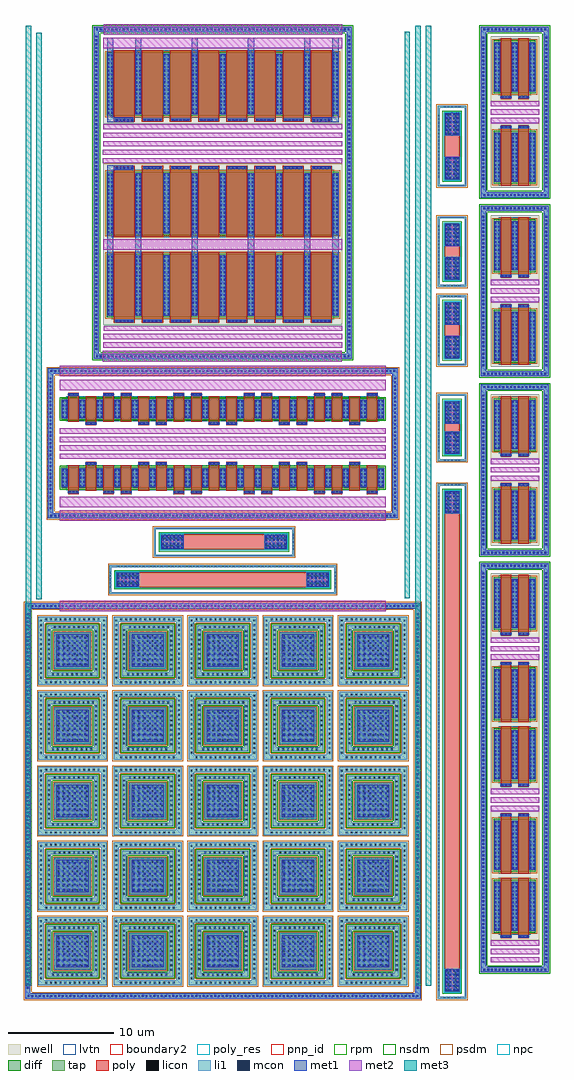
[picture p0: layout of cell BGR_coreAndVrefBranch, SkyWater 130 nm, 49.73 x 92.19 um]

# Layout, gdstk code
from math import pi, radians
import gdstk
lib = gdstk.Library(unit=1e-6, precision=5e-09)
def R(c, l, rs):  # rectangles x0, y0, x1, y1
    for r in rs: c.add(gdstk.rectangle(r[:2], r[2:], *l))
def A(c, l, x, y, w, h, nx, ny, dx, dy):  # array of equal rectangles
    R(c, l, [(x+i*dx, y+j*dy, x+i*dx+w, y+j*dy+h) for i in range(nx) for j in range(ny)])
def P(c, l, *ps):  # polygons
    for p in ps: c.add(gdstk.Polygon(p, *l))
nwell = (64, 20)
diff = (65, 20)
tap = (65, 44)
poly_res = (66, 13)
poly = (66, 20)
licon = (66, 44)
li1 = (67, 20)
mcon = (67, 44)
met1 = (68, 20)
met2 = (69, 20)
met3 = (70, 20)
pnp_id = (82, 44)
rpm = (86, 20)
nsdm = (93, 44)
psdm = (94, 20)
npc = (95, 20)
lvtn = (125, 44)
boundary2 = (236, 0)

guard_ring_gen_13 = lib.new_cell('guard_ring_gen$13')
P(guard_ring_gen_13, tap, [(-0.5,-0.5),(-0.5,13.165),(0,13.165),(0,0),(32.04,0),(32.04,13.165),(-0.5,13.165),(-0.5,13.665),(32.54,13.665),(32.54,-0.5)])
A(guard_ring_gen_13, licon, -0.265, -0.335, 0.17, 0.17, 91, 2, 0.36, 13.665)
A(guard_ring_gen_13, licon, -0.335, 0.38, 0.17, 0.17, 1, 35, 0, 0.36)
A(guard_ring_gen_13, licon, 32.205, 0.38, 0.17, 0.17, 1, 35, 0, 0.36)
P(guard_ring_gen_13, li1, [(-0.5,-0.5),(-0.5,13.165),(0,13.165),(0,0),(32.04,0),(32.04,13.165),(-0.5,13.165),(-0.5,13.665),(32.54,13.665),(32.54,-0.5)])
A(guard_ring_gen_13, mcon, -0.265, -0.335, 0.17, 0.17, 91, 2, 0.36, 13.665)
A(guard_ring_gen_13, mcon, -0.335, 0.38, 0.17, 0.17, 1, 35, 0, 0.36)
A(guard_ring_gen_13, mcon, 32.205, 0.38, 0.17, 0.17, 1, 35, 0, 0.36)
P(guard_ring_gen_13, met1, [(-0.5,-0.5),(-0.5,13.165),(0,13.165),(0,0),(32.04,0),(32.04,13.165),(-0.5,13.165),(-0.5,13.665),(32.54,13.665),(32.54,-0.5)])
P(guard_ring_gen_13, psdm, [(-0.625,-0.625),(-0.625,13.04),(0.125,13.04),(0.125,0.125),(31.915,0.125),(31.915,13.04),(-0.625,13.04),(-0.625,13.79),(32.665,13.79),(32.665,-0.625)])

pfet = lib.new_cell('pfet')
R(pfet, nwell, [(-0.305,-0.38,2.625,5.72)])
R(pfet, diff, [(0,0,2.32,5)])
R(pfet, poly, [(0.66,-0.2,1.66,5.2), (0.66,5.2,1.66,5.53)])
A(pfet, licon, 0.065, 0.255, 0.17, 0.17, 1, 13, 0, 0.36)
A(pfet, licon, 0.425, 0.255, 0.17, 0.17, 1, 13, 0, 0.36)
A(pfet, licon, 1.725, 0.255, 0.17, 0.17, 1, 13, 0, 0.36)
A(pfet, licon, 2.085, 0.255, 0.17, 0.17, 1, 13, 0, 0.36)
A(pfet, licon, 0.715, 5.28, 0.17, 0.17, 3, 1, 0.36, 0)
R(pfet, li1, [(0.065,0.175,0.595,4.825), (1.725,0.175,2.255,4.825), (0.635,5.28,1.685,5.45)])
A(pfet, mcon, 0.065, 0.255, 0.17, 0.17, 1, 13, 0, 0.36)
A(pfet, mcon, 0.425, 0.255, 0.17, 0.17, 1, 13, 0, 0.36)
A(pfet, mcon, 1.725, 0.255, 0.17, 0.17, 1, 13, 0, 0.36)
A(pfet, mcon, 2.085, 0.255, 0.17, 0.17, 1, 13, 0, 0.36)
A(pfet, mcon, 0.715, 5.28, 0.17, 0.17, 3, 1, 0.36, 0)
R(pfet, met1, [(0.035,0.195,0.625,4.805), (1.695,0.195,2.285,4.805), (0.655,5.25,1.665,5.48)])
R(pfet, psdm, [(-0.125,-0.125,2.445,5.125)])
R(pfet, npc, [(0.65,5.19,1.67,5.54)])
R(pfet, lvtn, [(0.48,-0.18,1.84,5.18)])

guard_ring_gen_4 = lib.new_cell('guard_ring_gen$4')
P(guard_ring_gen_4, tap, [(-0.5,-0.5),(-0.5,15.145),(0,15.145),(0,0),(5.44,0),(5.44,15.145),(-0.5,15.145),(-0.5,15.645),(5.94,15.645),(5.94,-0.5)])
A(guard_ring_gen_4, licon, -0.245, -0.335, 0.17, 0.17, 17, 2, 0.36, 15.645)
A(guard_ring_gen_4, licon, -0.335, 0.47, 0.17, 0.17, 1, 40, 0, 0.36)
A(guard_ring_gen_4, licon, 5.605, 0.47, 0.17, 0.17, 1, 40, 0, 0.36)
P(guard_ring_gen_4, li1, [(-0.5,-0.5),(-0.5,15.145),(0,15.145),(0,0),(5.44,0),(5.44,15.145),(-0.5,15.145),(-0.5,15.645),(5.94,15.645),(5.94,-0.5)])
A(guard_ring_gen_4, mcon, -0.245, -0.335, 0.17, 0.17, 17, 2, 0.36, 15.645)
A(guard_ring_gen_4, mcon, -0.335, 0.47, 0.17, 0.17, 1, 40, 0, 0.36)
A(guard_ring_gen_4, mcon, 5.605, 0.47, 0.17, 0.17, 1, 40, 0, 0.36)
P(guard_ring_gen_4, met1, [(-0.5,-0.5),(-0.5,15.145),(0,15.145),(0,0),(5.44,0),(5.44,15.145),(-0.5,15.145),(-0.5,15.645),(5.94,15.645),(5.94,-0.5)])
P(guard_ring_gen_4, nsdm, [(-0.625,-0.625),(-0.625,15.02),(0.125,15.02),(0.125,0.125),(5.315,0.125),(5.315,15.02),(-0.625,15.02),(-0.625,15.77),(6.065,15.77),(6.065,-0.625)])

res_poly_5 = lib.new_cell('res_poly$5')
R(res_poly_5, tap, [(-1.355,-24.31,1.355,-24.14), (-1.355,-24.14,-1.185,24.14), (1.185,-24.14,1.355,24.14), (-1.355,24.14,1.355,24.31)])
R(res_poly_5, poly_res, [(-0.705,-21.56,0.705,21.56)])
R(res_poly_5, poly, [(-0.705,-23.66,0.705,23.66)])
A(res_poly_5, licon, -0.765, -24.31, 0.17, 0.17, 5, 2, 0.34, 48.45)
A(res_poly_5, licon, -1.355, -23.545, 0.17, 0.17, 1, 139, 0, 0.34)
A(res_poly_5, licon, 1.185, -23.545, 0.17, 0.17, 1, 139, 0, 0.34)
R(res_poly_5, licon, [(-0.45,-23.58,-0.26,-21.58), (0.26,-23.58,0.45,-21.58), (-0.45,21.58,-0.26,23.58), (0.26,21.58,0.45,23.58)])
R(res_poly_5, li1, [(-1.355,-24.31,1.355,-24.14), (-1.355,-24.14,-1.185,24.14), (1.185,-24.14,1.355,24.14), (-0.705,-23.66,0.705,-21.5), (-0.705,21.5,0.705,23.66), (-1.355,24.14,1.355,24.31)])
A(res_poly_5, mcon, -0.625, -23.56, 0.17, 0.17, 4, 6, 0.36, 0.36)
A(res_poly_5, mcon, -0.625, 21.595, 0.17, 0.17, 4, 6, 0.36, 0.36)
R(res_poly_5, met1, [(-0.655,-23.63,0.655,-21.525), (-0.655,21.525,0.655,23.63)])
R(res_poly_5, rpm, [(-0.905,-23.86,0.905,23.86)])
R(res_poly_5, psdm, [(-1.48,-24.435,1.48,24.435)])
R(res_poly_5, npc, [(-0.8,-23.755,0.8,23.755)])

nfet = lib.new_cell('nfet')
R(nfet, diff, [(0,0,2.32,2)])
R(nfet, poly, [(0.66,-0.53,1.66,-0.2), (0.66,-0.2,1.66,2.2)])
A(nfet, licon, 0.715, -0.45, 0.17, 0.17, 3, 1, 0.36, 0)
A(nfet, licon, 0.065, 0.195, 0.17, 0.17, 1, 5, 0, 0.36)
A(nfet, licon, 0.425, 0.195, 0.17, 0.17, 1, 5, 0, 0.36)
A(nfet, licon, 1.725, 0.195, 0.17, 0.17, 1, 5, 0, 0.36)
A(nfet, licon, 2.085, 0.195, 0.17, 0.17, 1, 5, 0, 0.36)
R(nfet, li1, [(0.635,-0.45,1.685,-0.28), (0.065,0.115,0.595,1.885), (1.725,0.115,2.255,1.885)])
A(nfet, mcon, 0.715, -0.45, 0.17, 0.17, 3, 1, 0.36, 0)
A(nfet, mcon, 0.065, 0.195, 0.17, 0.17, 1, 5, 0, 0.36)
A(nfet, mcon, 0.425, 0.195, 0.17, 0.17, 1, 5, 0, 0.36)
A(nfet, mcon, 1.725, 0.195, 0.17, 0.17, 1, 5, 0, 0.36)
A(nfet, mcon, 2.085, 0.195, 0.17, 0.17, 1, 5, 0, 0.36)
R(nfet, met1, [(0.655,-0.48,1.665,-0.25), (0.035,0.135,0.625,1.865), (1.695,0.135,2.285,1.865)])
R(nfet, nsdm, [(-0.125,-0.125,2.445,2.125)])
R(nfet, npc, [(0.65,-0.54,1.67,-0.19)])
R(nfet, lvtn, [(0.48,-0.18,1.84,2.18)])

guard_ring_gen = lib.new_cell('guard_ring_gen')
P(guard_ring_gen, tap, [(-0.5,-0.5),(-0.5,36.35),(0,36.35),(0,0),(36.35,0),(36.35,36.35),(-0.5,36.35),(-0.5,36.85),(36.85,36.85),(36.85,-0.5)])
A(guard_ring_gen, licon, -0.27, -0.335, 0.17, 0.17, 103, 2, 0.36, 36.85)
A(guard_ring_gen, licon, -0.335, 0.45, 0.17, 0.17, 1, 99, 0, 0.36)
A(guard_ring_gen, licon, 36.515, 0.45, 0.17, 0.17, 1, 99, 0, 0.36)
P(guard_ring_gen, li1, [(-0.5,-0.5),(-0.5,36.35),(0,36.35),(0,0),(36.35,0),(36.35,36.35),(-0.5,36.35),(-0.5,36.85),(36.85,36.85),(36.85,-0.5)])
A(guard_ring_gen, mcon, -0.27, -0.335, 0.17, 0.17, 103, 2, 0.36, 36.85)
A(guard_ring_gen, mcon, -0.335, 0.45, 0.17, 0.17, 1, 99, 0, 0.36)
A(guard_ring_gen, mcon, 36.515, 0.45, 0.17, 0.17, 1, 99, 0, 0.36)
P(guard_ring_gen, met1, [(-0.5,-0.5),(-0.5,36.35),(0,36.35),(0,0),(36.35,0),(36.35,36.35),(-0.5,36.35),(-0.5,36.85),(36.85,36.85),(36.85,-0.5)])
P(guard_ring_gen, psdm, [(-0.625,-0.625),(-0.625,36.225),(0.125,36.225),(0.125,0.125),(36.225,0.125),(36.225,36.225),(-0.625,36.225),(-0.625,36.975),(36.975,36.975),(36.975,-0.625)])

res_poly_13 = lib.new_cell('res_poly$13')
R(res_poly_13, tap, [(-1.355,-10.71,1.355,-10.54), (-1.355,-10.54,-1.185,10.54), (1.185,-10.54,1.355,10.54), (-1.355,10.54,1.355,10.71)])
R(res_poly_13, poly_res, [(-0.705,-7.96,0.705,7.96)])
R(res_poly_13, poly, [(-0.705,-10.06,0.705,10.06)])
A(res_poly_13, licon, -0.765, -10.71, 0.17, 0.17, 5, 2, 0.34, 21.25)
A(res_poly_13, licon, -1.355, -9.945, 0.17, 0.17, 1, 59, 0, 0.34)
A(res_poly_13, licon, 1.185, -9.945, 0.17, 0.17, 1, 59, 0, 0.34)
R(res_poly_13, licon, [(-0.45,-9.98,-0.26,-7.98), (0.26,-9.98,0.45,-7.98), (-0.45,7.98,-0.26,9.98), (0.26,7.98,0.45,9.98)])
R(res_poly_13, li1, [(-1.355,-10.71,1.355,-10.54), (-1.355,-10.54,-1.185,10.54), (1.185,-10.54,1.355,10.54), (-0.705,-10.06,0.705,-7.9), (-0.705,7.9,0.705,10.06), (-1.355,10.54,1.355,10.71)])
A(res_poly_13, mcon, -0.625, -9.96, 0.17, 0.17, 4, 6, 0.36, 0.36)
A(res_poly_13, mcon, -0.625, 7.995, 0.17, 0.17, 4, 6, 0.36, 0.36)
R(res_poly_13, met1, [(-0.655,-10.03,0.655,-7.925), (-0.655,7.925,0.655,10.03)])
R(res_poly_13, rpm, [(-0.905,-10.26,0.905,10.26)])
R(res_poly_13, psdm, [(-1.48,-10.835,1.48,10.835)])
R(res_poly_13, npc, [(-0.8,-10.155,0.8,10.155)])

pnp_bjt = lib.new_cell('pnp_bjt')
R(pnp_bjt, nwell, [(0.765,0.765,5.935,5.935)])
R(pnp_bjt, diff, [(1.65,1.65,5.05,5.05)])
P(pnp_bjt, tap, [(0.945,0.945),(0.945,5.755),(5.395,5.755),(5.395,5.395),(1.305,5.395),(1.305,1.305),(5.395,1.305),(5.395,5.755),(5.755,5.755),(5.755,0.945)],
  [(0.13,0.13),(0.13,6.57),(6.065,6.57),(6.065,6.065),(0.635,6.065),(0.635,0.635),(6.065,0.635),(6.065,6.57),(6.57,6.57),(6.57,0.13)])
A(pnp_bjt, licon, 0.78, 0.29, 0.17, 0.17, 12, 2, 0.45, 5.935)
A(pnp_bjt, licon, 0.3, 0.71, 0.17, 0.17, 1, 13, 0, 0.45)
A(pnp_bjt, licon, 6.235, 0.71, 0.17, 0.17, 1, 13, 0, 0.45)
A(pnp_bjt, licon, 1.43, 1.04, 0.17, 0.17, 9, 1, 0.45, 0)
A(pnp_bjt, licon, 5.49, 1.51, 0.17, 0.17, 1, 9, 0, 0.45)
A(pnp_bjt, licon, 1.04, 1.605, 0.17, 0.17, 1, 9, 0, 0.45)
A(pnp_bjt, licon, 1.92, 1.92, 0.17, 0.17, 7, 7, 0.45, 0.45)
A(pnp_bjt, licon, 1.6, 5.49, 0.17, 0.17, 9, 1, 0.45, 0)
A(pnp_bjt, li1, 0.58, 0.21, 0.33, 0.33, 12, 1, 0.45, 0)
A(pnp_bjt, li1, 0.675, 0.24, 0.27, 0.27, 11, 2, 0.5, 5.96)
A(pnp_bjt, li1, 6.16, 0.54, 0.33, 0.33, 1, 13, 0, 0.45)
A(pnp_bjt, li1, 0.22, 0.63, 0.33, 0.33, 1, 13, 0, 0.45)
A(pnp_bjt, li1, 1.35, 0.96, 0.33, 0.33, 9, 1, 0.45, 0)
A(pnp_bjt, li1, 1.14, 0.985, 0.27, 0.27, 9, 1, 0.5, 0)
A(pnp_bjt, li1, 5.41, 1.43, 0.33, 0.33, 1, 9, 0, 0.45)
A(pnp_bjt, li1, 0.96, 1.525, 0.33, 0.33, 1, 9, 0, 0.45)
A(pnp_bjt, li1, 1.84, 1.84, 0.33, 0.33, 7, 7, 0.45, 0.45)
A(pnp_bjt, li1, 1.93, 1.93, 0.27, 0.27, 6, 6, 0.5, 0.5)
A(pnp_bjt, li1, 1.52, 5.41, 0.33, 0.33, 9, 1, 0.45, 0)
A(pnp_bjt, li1, 1.155, 5.44, 0.27, 0.27, 9, 1, 0.5, 0)
A(pnp_bjt, li1, 0.7, 6.165, 0.33, 0.33, 12, 1, 0.45, 0)
R(pnp_bjt, li1, [(1.615,1.615,5.085,5.085), (1.65,1.65,5.05,5.05)])
P(pnp_bjt, li1, [(0.13,0.13),(0.13,6.57),(6.075,6.57),(6.075,6.075),(0.625,6.075),(0.625,0.625),(6.075,0.625),(6.075,6.57),(6.57,6.57),(6.57,0.13)],
  [(0.945,0.945),(0.945,5.755),(5.395,5.755),(5.395,5.395),(1.305,5.395),(1.305,1.305),(5.395,1.305),(5.395,5.755),(5.755,5.755),(5.755,0.945)])
A(pnp_bjt, mcon, 1.98, 1.98, 0.17, 0.17, 6, 6, 0.5, 0.5)
A(pnp_bjt, met1, 1.93, 1.93, 0.27, 0.27, 6, 6, 0.5, 0.5)
R(pnp_bjt, met1, [(1.825,1.825,4.875,4.875)])
R(pnp_bjt, pnp_id, [(0.135,0.135,6.565,6.565)])
P(pnp_bjt, nsdm, [(0.805,0.805),(0.805,5.895),(5.265,5.895),(5.265,5.265),(1.435,5.265),(1.435,1.435),(5.265,1.435),(5.265,5.895),(5.895,5.895),(5.895,0.805)])
R(pnp_bjt, psdm, [(1.52,1.52,5.18,5.18)])
P(pnp_bjt, psdm, [(0,0),(0,6.7),(5.935,6.7),(5.935,5.935),(0.765,5.935),(0.765,0.765),(5.935,0.765),(5.935,6.7),(6.7,6.7),(6.7,0)])
R(pnp_bjt, boundary2, [(0.13,0.13,6.57,6.57)])
pnp_bjt.add(gdstk.Label('Emitter', (3.39,3.39), layer=67, texttype=5))
pnp_bjt.add(gdstk.Label('Collector', (3.32,6.38), layer=67, texttype=5))
pnp_bjt.add(gdstk.Label('Base', (3.245,5.61), layer=67, texttype=5))

pfet_1 = lib.new_cell('pfet$1')
R(pfet_1, nwell, [(-0.305,-0.38,3.625,6.72)])
R(pfet_1, diff, [(0,0,3.32,6)])
R(pfet_1, poly, [(0.66,-0.2,2.66,6.2), (0.66,6.2,2.66,6.53)])
A(pfet_1, licon, 0.065, 0.215, 0.17, 0.17, 1, 16, 0, 0.36)
A(pfet_1, licon, 0.425, 0.215, 0.17, 0.17, 1, 16, 0, 0.36)
A(pfet_1, licon, 2.725, 0.215, 0.17, 0.17, 1, 16, 0, 0.36)
A(pfet_1, licon, 3.085, 0.215, 0.17, 0.17, 1, 16, 0, 0.36)
A(pfet_1, licon, 0.855, 6.28, 0.17, 0.17, 5, 1, 0.36, 0)
R(pfet_1, li1, [(0.065,0.135,0.595,5.865), (2.725,0.135,3.255,5.865), (0.775,6.28,2.545,6.45)])
A(pfet_1, mcon, 0.065, 0.215, 0.17, 0.17, 1, 16, 0, 0.36)
A(pfet_1, mcon, 0.425, 0.215, 0.17, 0.17, 1, 16, 0, 0.36)
A(pfet_1, mcon, 2.725, 0.215, 0.17, 0.17, 1, 16, 0, 0.36)
A(pfet_1, mcon, 3.085, 0.215, 0.17, 0.17, 1, 16, 0, 0.36)
A(pfet_1, mcon, 0.855, 6.28, 0.17, 0.17, 5, 1, 0.36, 0)
R(pfet_1, met1, [(0.035,0.155,0.625,5.845), (2.695,0.155,3.285,5.845), (0.795,6.25,2.525,6.48)])
R(pfet_1, psdm, [(-0.125,-0.125,3.445,6.125)])
R(pfet_1, npc, [(0.65,6.19,2.67,6.54)])
R(pfet_1, lvtn, [(0.48,-0.18,2.84,6.18)])

res_poly_7 = lib.new_cell('res_poly$7')
R(res_poly_7, tap, [(-1.355,-6.61,1.355,-6.44), (-1.355,-6.44,-1.185,6.44), (1.185,-6.44,1.355,6.44), (-1.355,6.44,1.355,6.61)])
R(res_poly_7, poly_res, [(-0.705,-3.86,0.705,3.86)])
R(res_poly_7, poly, [(-0.705,-5.96,0.705,5.96)])
A(res_poly_7, licon, -0.765, -6.61, 0.17, 0.17, 5, 2, 0.34, 13.05)
A(res_poly_7, licon, -1.355, -5.865, 0.17, 0.17, 1, 35, 0, 0.34)
A(res_poly_7, licon, 1.185, -5.865, 0.17, 0.17, 1, 35, 0, 0.34)
R(res_poly_7, licon, [(-0.45,-5.88,-0.26,-3.88), (0.26,-5.88,0.45,-3.88), (-0.45,3.88,-0.26,5.88), (0.26,3.88,0.45,5.88)])
R(res_poly_7, li1, [(-1.355,-6.61,1.355,-6.44), (-1.355,-6.44,-1.185,6.44), (1.185,-6.44,1.355,6.44), (-0.705,-5.96,0.705,-3.8), (-0.705,3.8,0.705,5.96), (-1.355,6.44,1.355,6.61)])
A(res_poly_7, mcon, -0.625, -5.86, 0.17, 0.17, 4, 6, 0.36, 0.36)
A(res_poly_7, mcon, -0.625, 3.895, 0.17, 0.17, 4, 6, 0.36, 0.36)
R(res_poly_7, met1, [(-0.655,-5.93,0.655,-3.825), (-0.655,3.825,0.655,5.93)])
R(res_poly_7, rpm, [(-0.905,-6.16,0.905,6.16)])
R(res_poly_7, psdm, [(-1.48,-6.735,1.48,6.735)])
R(res_poly_7, npc, [(-0.8,-6.055,0.8,6.055)])

guard_ring_gen_7 = lib.new_cell('guard_ring_gen$7')
P(guard_ring_gen_7, tap, [(-0.5,-0.5),(-0.5,30.38),(0,30.38),(0,0),(23.4,0),(23.4,30.38),(-0.5,30.38),(-0.5,30.88),(23.9,30.88),(23.9,-0.5)])
A(guard_ring_gen_7, licon, -0.265, -0.335, 0.17, 0.17, 67, 2, 0.36, 30.88)
A(guard_ring_gen_7, licon, -0.335, 0.345, 0.17, 0.17, 1, 83, 0, 0.36)
A(guard_ring_gen_7, licon, 23.565, 0.345, 0.17, 0.17, 1, 83, 0, 0.36)
P(guard_ring_gen_7, li1, [(-0.5,-0.5),(-0.5,30.38),(0,30.38),(0,0),(23.4,0),(23.4,30.38),(-0.5,30.38),(-0.5,30.88),(23.9,30.88),(23.9,-0.5)])
A(guard_ring_gen_7, mcon, -0.265, -0.335, 0.17, 0.17, 67, 2, 0.36, 30.88)
A(guard_ring_gen_7, mcon, -0.335, 0.345, 0.17, 0.17, 1, 83, 0, 0.36)
A(guard_ring_gen_7, mcon, 23.565, 0.345, 0.17, 0.17, 1, 83, 0, 0.36)
P(guard_ring_gen_7, met1, [(-0.5,-0.5),(-0.5,30.38),(0,30.38),(0,0),(23.4,0),(23.4,30.38),(-0.5,30.38),(-0.5,30.88),(23.9,30.88),(23.9,-0.5)])
P(guard_ring_gen_7, nsdm, [(-0.625,-0.625),(-0.625,30.255),(0.125,30.255),(0.125,0.125),(23.275,0.125),(23.275,30.255),(-0.625,30.255),(-0.625,31.005),(24.025,31.005),(24.025,-0.625)])

nfet_3 = lib.new_cell('nfet$3')
R(nfet_3, diff, [(0,0,2.32,2)])
R(nfet_3, poly, [(0.66,-0.2,1.66,2.2), (0.66,2.2,1.66,2.53)])
A(nfet_3, licon, 0.065, 0.195, 0.17, 0.17, 1, 5, 0, 0.36)
A(nfet_3, licon, 0.425, 0.195, 0.17, 0.17, 1, 5, 0, 0.36)
A(nfet_3, licon, 1.725, 0.195, 0.17, 0.17, 1, 5, 0, 0.36)
A(nfet_3, licon, 2.085, 0.195, 0.17, 0.17, 1, 5, 0, 0.36)
A(nfet_3, licon, 0.715, 2.28, 0.17, 0.17, 3, 1, 0.36, 0)
R(nfet_3, li1, [(0.065,0.115,0.595,1.885), (1.725,0.115,2.255,1.885), (0.635,2.28,1.685,2.45)])
A(nfet_3, mcon, 0.065, 0.195, 0.17, 0.17, 1, 5, 0, 0.36)
A(nfet_3, mcon, 0.425, 0.195, 0.17, 0.17, 1, 5, 0, 0.36)
A(nfet_3, mcon, 1.725, 0.195, 0.17, 0.17, 1, 5, 0, 0.36)
A(nfet_3, mcon, 2.085, 0.195, 0.17, 0.17, 1, 5, 0, 0.36)
A(nfet_3, mcon, 0.715, 2.28, 0.17, 0.17, 3, 1, 0.36, 0)
R(nfet_3, met1, [(0.035,0.135,0.625,1.865), (1.695,0.135,2.285,1.865), (0.655,2.25,1.665,2.48)])
R(nfet_3, nsdm, [(-0.125,-0.125,2.445,2.125)])
R(nfet_3, npc, [(0.65,2.19,1.67,2.54)])
R(nfet_3, lvtn, [(0.48,-0.18,1.84,2.18)])

res_poly_4 = lib.new_cell('res_poly$4')
R(res_poly_4, tap, [(-1.355,-3.16,1.355,-2.99), (-1.355,-2.99,-1.185,2.99), (1.185,-2.99,1.355,2.99), (-1.355,2.99,1.355,3.16)])
R(res_poly_4, poly_res, [(-0.705,-0.41,0.705,0.41)])
R(res_poly_4, poly, [(-0.705,-2.51,0.705,2.51)])
A(res_poly_4, licon, -0.765, -3.16, 0.17, 0.17, 5, 2, 0.34, 6.15)
A(res_poly_4, licon, -1.355, -2.295, 0.17, 0.17, 1, 14, 0, 0.34)
A(res_poly_4, licon, 1.185, -2.295, 0.17, 0.17, 1, 14, 0, 0.34)
R(res_poly_4, licon, [(-0.45,-2.43,-0.26,-0.43), (0.26,-2.43,0.45,-0.43), (-0.45,0.43,-0.26,2.43), (0.26,0.43,0.45,2.43)])
R(res_poly_4, li1, [(-1.355,-3.16,1.355,-2.99), (-1.355,-2.99,-1.185,2.99), (1.185,-2.99,1.355,2.99), (-0.705,-2.51,0.705,-0.35), (-0.705,0.35,0.705,2.51), (-1.355,2.99,1.355,3.16)])
A(res_poly_4, mcon, -0.625, -2.41, 0.17, 0.17, 4, 6, 0.36, 0.36)
A(res_poly_4, mcon, -0.625, 0.445, 0.17, 0.17, 4, 6, 0.36, 0.36)
R(res_poly_4, met1, [(-0.655,-2.48,0.655,-0.375), (-0.655,0.375,0.655,2.48)])
R(res_poly_4, rpm, [(-0.905,-2.71,0.905,2.71)])
R(res_poly_4, psdm, [(-1.48,-3.285,1.48,3.285)])
R(res_poly_4, npc, [(-0.8,-2.605,0.8,2.605)])

res_poly = lib.new_cell('res_poly')
R(res_poly, tap, [(-1.355,-3.31,1.355,-3.14), (-1.355,-3.14,-1.185,3.14), (1.185,-3.14,1.355,3.14), (-1.355,3.14,1.355,3.31)])
R(res_poly, poly_res, [(-0.705,-0.56,0.705,0.56)])
R(res_poly, poly, [(-0.705,-2.66,0.705,2.66)])
A(res_poly, licon, -0.765, -3.31, 0.17, 0.17, 5, 2, 0.34, 6.45)
A(res_poly, licon, -1.355, -2.465, 0.17, 0.17, 1, 15, 0, 0.34)
A(res_poly, licon, 1.185, -2.465, 0.17, 0.17, 1, 15, 0, 0.34)
R(res_poly, licon, [(-0.45,-2.58,-0.26,-0.58), (0.26,-2.58,0.45,-0.58), (-0.45,0.58,-0.26,2.58), (0.26,0.58,0.45,2.58)])
R(res_poly, li1, [(-1.355,-3.31,1.355,-3.14), (-1.355,-3.14,-1.185,3.14), (1.185,-3.14,1.355,3.14), (-0.705,-2.66,0.705,-0.5), (-0.705,0.5,0.705,2.66), (-1.355,3.14,1.355,3.31)])
A(res_poly, mcon, -0.625, -2.56, 0.17, 0.17, 4, 6, 0.36, 0.36)
A(res_poly, mcon, -0.625, 0.595, 0.17, 0.17, 4, 6, 0.36, 0.36)
R(res_poly, met1, [(-0.655,-2.63,0.655,-0.525), (-0.655,0.525,0.655,2.63)])
R(res_poly, rpm, [(-0.905,-2.86,0.905,2.86)])
R(res_poly, psdm, [(-1.48,-3.435,1.48,3.435)])
R(res_poly, npc, [(-0.8,-2.755,0.8,2.755)])

res_poly_3 = lib.new_cell('res_poly$3')
R(res_poly_3, tap, [(-1.355,-3.81,1.355,-3.64), (-1.355,-3.64,-1.185,3.64), (1.185,-3.64,1.355,3.64), (-1.355,3.64,1.355,3.81)])
R(res_poly_3, poly_res, [(-0.705,-1.06,0.705,1.06)])
R(res_poly_3, poly, [(-0.705,-3.16,0.705,3.16)])
A(res_poly_3, licon, -0.765, -3.81, 0.17, 0.17, 5, 2, 0.34, 7.45)
A(res_poly_3, licon, -1.355, -2.975, 0.17, 0.17, 1, 18, 0, 0.34)
A(res_poly_3, licon, 1.185, -2.975, 0.17, 0.17, 1, 18, 0, 0.34)
R(res_poly_3, licon, [(-0.45,-3.08,-0.26,-1.08), (0.26,-3.08,0.45,-1.08), (-0.45,1.08,-0.26,3.08), (0.26,1.08,0.45,3.08)])
R(res_poly_3, li1, [(-1.355,-3.81,1.355,-3.64), (-1.355,-3.64,-1.185,3.64), (1.185,-3.64,1.355,3.64), (-0.705,-3.16,0.705,-1), (-0.705,1,0.705,3.16), (-1.355,3.64,1.355,3.81)])
A(res_poly_3, mcon, -0.625, -3.06, 0.17, 0.17, 4, 6, 0.36, 0.36)
A(res_poly_3, mcon, -0.625, 1.095, 0.17, 0.17, 4, 6, 0.36, 0.36)
R(res_poly_3, met1, [(-0.655,-3.13,0.655,-1.025), (-0.655,1.025,0.655,3.13)])
R(res_poly_3, rpm, [(-0.905,-3.36,0.905,3.36)])
R(res_poly_3, psdm, [(-1.48,-3.935,1.48,3.935)])
R(res_poly_3, npc, [(-0.8,-3.255,0.8,3.255)])

guard_ring_gen_5 = lib.new_cell('guard_ring_gen$5')
P(guard_ring_gen_5, tap, [(-0.5,-0.5),(-0.5,37.635),(0,37.635),(0,0),(5.44,0),(5.44,37.635),(-0.5,37.635),(-0.5,38.135),(5.94,38.135),(5.94,-0.5)])
A(guard_ring_gen_5, licon, -0.245, -0.335, 0.17, 0.17, 17, 2, 0.36, 38.135)
A(guard_ring_gen_5, licon, -0.335, 0.375, 0.17, 0.17, 1, 103, 0, 0.36)
A(guard_ring_gen_5, licon, 5.605, 0.375, 0.17, 0.17, 1, 103, 0, 0.36)
P(guard_ring_gen_5, li1, [(-0.5,-0.5),(-0.5,37.635),(0,37.635),(0,0),(5.44,0),(5.44,37.635),(-0.5,37.635),(-0.5,38.135),(5.94,38.135),(5.94,-0.5)])
A(guard_ring_gen_5, mcon, -0.245, -0.335, 0.17, 0.17, 17, 2, 0.36, 38.135)
A(guard_ring_gen_5, mcon, -0.335, 0.375, 0.17, 0.17, 1, 103, 0, 0.36)
A(guard_ring_gen_5, mcon, 5.605, 0.375, 0.17, 0.17, 1, 103, 0, 0.36)
P(guard_ring_gen_5, met1, [(-0.5,-0.5),(-0.5,37.635),(0,37.635),(0,0),(5.44,0),(5.44,37.635),(-0.5,37.635),(-0.5,38.135),(5.94,38.135),(5.94,-0.5)])
P(guard_ring_gen_5, nsdm, [(-0.625,-0.625),(-0.625,37.51),(0.125,37.51),(0.125,0.125),(5.315,0.125),(5.315,37.51),(-0.625,37.51),(-0.625,38.26),(6.065,38.26),(6.065,-0.625)])

bgr_coreandvrefbranch = lib.new_cell('BGR_coreAndVrefBranch')
R(bgr_coreandvrefbranch, nwell, [(147.055,181.045,169.605,196.245)])
R(bgr_coreandvrefbranch, lvtn, [(184.4,123.455,187.42,128.815), (184.4,129.215,187.42,134.575), (184.4,137.75,187.42,143.11), (184.4,143.51,187.42,148.87), (184.4,152.045,187.42,157.405), (184.4,160.405,187.42,165.765), (143.54,165.42,173.12,167.78), (184.4,168.94,187.42,174.3), (143.54,171.925,173.12,174.285), (184.4,177.3,187.42,182.66), (147.84,181.585,168.82,187.945), (184.4,185.835,187.42,191.195), (147.84,189.345,168.82,195.705), (184.4,194.195,187.42,199.555), (147.84,200.605,168.82,206.965), (184.4,202.73,187.42,208.09)])
bgr_coreandvrefbranch.add(gdstk.FlexPath([(147.69,200.17),(147.69,208.165)], 0.59, ends="flush", simple_path=True, layer=68, datatype=20))  # met1
bgr_coreandvrefbranch.add(gdstk.FlexPath([(149.885,200.42),(147.395,200.42)], 0.5, ends="flush", simple_path=True, layer=68, datatype=20))  # met1
bgr_coreandvrefbranch.add(gdstk.FlexPath([(150.35,200.94),(150.35,208.165)], 0.59, ends="flush", simple_path=True, layer=68, datatype=20))  # met1
bgr_coreandvrefbranch.add(gdstk.FlexPath([(155.67,200.94),(155.67,208.165)], 0.59, ends="flush", simple_path=True, layer=68, datatype=20))  # met1
bgr_coreandvrefbranch.add(gdstk.FlexPath([(160.99,200.94),(160.99,208.165)], 0.59, ends="flush", simple_path=True, layer=68, datatype=20))  # met1
bgr_coreandvrefbranch.add(gdstk.FlexPath([(166.31,200.94),(166.31,208.165)], 0.59, ends="flush", simple_path=True, layer=68, datatype=20))  # met1
bgr_coreandvrefbranch.add(gdstk.FlexPath([(168.97,200.17),(168.97,208.165)], 0.59, ends="flush", simple_path=True, layer=68, datatype=20))  # met1
bgr_coreandvrefbranch.add(gdstk.FlexPath([(166.775,200.42),(169.265,200.42)], 0.5, ends="flush", simple_path=True, layer=68, datatype=20))  # met1
bgr_coreandvrefbranch.add(gdstk.FlexPath([(147.69,196.14),(147.69,188.145)], 0.59, ends="flush", simple_path=True, layer=68, datatype=20))  # met1
bgr_coreandvrefbranch.add(gdstk.FlexPath([(149.885,195.89),(147.395,195.89)], 0.5, ends="flush", simple_path=True, layer=68, datatype=20))  # met1
bgr_coreandvrefbranch.add(gdstk.FlexPath([(168.97,195.37),(168.97,188.145)], 0.59, ends="flush", simple_path=True, layer=68, datatype=20))  # met1
bgr_coreandvrefbranch.add(gdstk.FlexPath([(150.35,195.37),(150.35,188.145)], 0.59, ends="flush", simple_path=True, layer=68, datatype=20))  # met1
bgr_coreandvrefbranch.add(gdstk.FlexPath([(155.67,195.37),(155.67,188.145)], 0.59, ends="flush", simple_path=True, layer=68, datatype=20))  # met1
bgr_coreandvrefbranch.add(gdstk.FlexPath([(160.99,195.37),(160.99,188.145)], 0.59, ends="flush", simple_path=True, layer=68, datatype=20))  # met1
bgr_coreandvrefbranch.add(gdstk.FlexPath([(166.31,195.37),(166.31,188.145)], 0.59, ends="flush", simple_path=True, layer=68, datatype=20))  # met1
bgr_coreandvrefbranch.add(gdstk.FlexPath([(147.69,181.92),(147.69,188.145)], 0.59, ends="flush", simple_path=True, layer=68, datatype=20))  # met1
bgr_coreandvrefbranch.add(gdstk.FlexPath([(150.35,181.92),(150.35,188.145)], 0.59, ends="flush", simple_path=True, layer=68, datatype=20))  # met1
bgr_coreandvrefbranch.add(gdstk.FlexPath([(155.67,181.92),(155.67,188.145)], 0.59, ends="flush", simple_path=True, layer=68, datatype=20))  # met1
bgr_coreandvrefbranch.add(gdstk.FlexPath([(160.99,181.92),(160.99,188.145)], 0.59, ends="flush", simple_path=True, layer=68, datatype=20))  # met1
bgr_coreandvrefbranch.add(gdstk.FlexPath([(166.31,181.92),(166.31,188.145)], 0.59, ends="flush", simple_path=True, layer=68, datatype=20))  # met1
bgr_coreandvrefbranch.add(gdstk.FlexPath([(168.97,181.92),(168.97,188.595)], 0.59, ends="flush", simple_path=True, layer=68, datatype=20))  # met1
bgr_coreandvrefbranch.add(gdstk.FlexPath([(169.615,198.155),(147.03,198.155)], 0.5, ends="flush", simple_path=True, layer=69, datatype=20))  # met2
bgr_coreandvrefbranch.add(gdstk.FlexPath([(169.62,208.965),(147.085,208.965)], 1, ends="flush", simple_path=True, layer=69, datatype=20))  # met2
bgr_coreandvrefbranch.add(gdstk.FlexPath([(169.575,178.085),(147,178.085)], 1, ends="flush", simple_path=True, layer=69, datatype=20))  # met2
bgr_coreandvrefbranch.add(gdstk.FlexPath([(169.61,179.935),(147.04,179.935)], 0.5, ends="flush", simple_path=True, layer=69, datatype=20))  # met2
bgr_coreandvrefbranch.add(gdstk.FlexPath([(169.61,180.735),(147.06,180.735)], 0.5, ends="flush", simple_path=True, layer=69, datatype=20))  # met2
bgr_coreandvrefbranch.add(gdstk.FlexPath([(169.61,179.135),(147.03,179.135)], 0.5, ends="flush", simple_path=True, layer=69, datatype=20))  # met2
bgr_coreandvrefbranch.add(gdstk.FlexPath([(169.625,188.645),(147.025,188.645)], 1, ends="flush", simple_path=True, layer=69, datatype=20))  # met2
bgr_coreandvrefbranch.add(gdstk.FlexPath([(169.615,197.355),(146.995,197.355)], 0.5, ends="flush", simple_path=True, layer=69, datatype=20))  # met2
bgr_coreandvrefbranch.add(gdstk.FlexPath([(169.61,199.755),(147.055,199.755)], 0.5, ends="flush", simple_path=True, layer=69, datatype=20))  # met2
bgr_coreandvrefbranch.add(gdstk.FlexPath([(169.615,198.955),(147.035,198.955)], 0.5, ends="flush", simple_path=True, layer=69, datatype=20))  # met2
bgr_coreandvrefbranch.add(gdstk.FlexPath([(169.615,196.555),(146.98,196.555)], 0.5, ends="flush", simple_path=True, layer=69, datatype=20))  # met2
bgr_coreandvrefbranch.add(gdstk.FlexPath([(169.62,207.665),(147.05,207.665)], 1, ends="flush", simple_path=True, layer=69, datatype=20))  # met2
bgr_coreandvrefbranch.add(gdstk.FlexPath([(173.725,163.02),(142.935,163.02)], 1, ends="flush", simple_path=True, layer=69, datatype=20))  # met2
bgr_coreandvrefbranch.add(gdstk.FlexPath([(173.715,176.685),(142.935,176.685)], 1, ends="flush", simple_path=True, layer=69, datatype=20))  # met2
bgr_coreandvrefbranch.add(gdstk.FlexPath([(173.725,164.32),(142.935,164.32)], 1, ends="flush", simple_path=True, layer=69, datatype=20))  # met2
bgr_coreandvrefbranch.add(gdstk.FlexPath([(173.735,168.63),(142.925,168.63)], 0.5, ends="flush", simple_path=True, layer=69, datatype=20))  # met2
bgr_coreandvrefbranch.add(gdstk.FlexPath([(173.725,169.425),(142.925,169.425)], 0.5, ends="flush", simple_path=True, layer=69, datatype=20))  # met2
bgr_coreandvrefbranch.add(gdstk.FlexPath([(173.725,170.225),(142.925,170.225)], 0.5, ends="flush", simple_path=True, layer=69, datatype=20))  # met2
bgr_coreandvrefbranch.add(gdstk.FlexPath([(173.725,171.025),(142.935,171.025)], 0.5, ends="flush", simple_path=True, layer=69, datatype=20))  # met2
bgr_coreandvrefbranch.add(gdstk.FlexPath([(173.715,175.385),(142.935,175.385)], 1, ends="flush", simple_path=True, layer=69, datatype=20))  # met2
bgr_coreandvrefbranch.add(gdstk.FlexPath([(183.615,185.045),(188.205,185.045)], 0.5, ends="flush", simple_path=True, layer=69, datatype=20))  # met2
bgr_coreandvrefbranch.add(gdstk.FlexPath([(183.615,183.45),(188.205,183.45)], 0.5, ends="flush", simple_path=True, layer=69, datatype=20))  # met2
bgr_coreandvrefbranch.add(gdstk.FlexPath([(183.615,184.25),(188.205,184.25)], 0.5, ends="flush", simple_path=True, layer=69, datatype=20))  # met2
bgr_coreandvrefbranch.add(gdstk.FlexPath([(183.615,201.94),(188.205,201.94)], 0.5, ends="flush", simple_path=True, layer=69, datatype=20))  # met2
bgr_coreandvrefbranch.add(gdstk.FlexPath([(183.615,200.345),(188.205,200.345)], 0.5, ends="flush", simple_path=True, layer=69, datatype=20))  # met2
bgr_coreandvrefbranch.add(gdstk.FlexPath([(183.615,201.145),(188.205,201.145)], 0.5, ends="flush", simple_path=True, layer=69, datatype=20))  # met2
bgr_coreandvrefbranch.add(gdstk.FlexPath([(183.615,168.15),(188.205,168.15)], 0.5, ends="flush", simple_path=True, layer=69, datatype=20))  # met2
bgr_coreandvrefbranch.add(gdstk.FlexPath([(183.615,166.555),(188.205,166.555)], 0.5, ends="flush", simple_path=True, layer=69, datatype=20))  # met2
bgr_coreandvrefbranch.add(gdstk.FlexPath([(183.615,167.355),(188.205,167.355)], 0.5, ends="flush", simple_path=True, layer=69, datatype=20))  # met2
bgr_coreandvrefbranch.add(gdstk.FlexPath([(183.615,151.255),(188.205,151.255)], 0.5, ends="flush", simple_path=True, layer=69, datatype=20))  # met2
bgr_coreandvrefbranch.add(gdstk.FlexPath([(183.615,149.66),(188.205,149.66)], 0.5, ends="flush", simple_path=True, layer=69, datatype=20))  # met2
bgr_coreandvrefbranch.add(gdstk.FlexPath([(183.615,150.46),(188.205,150.46)], 0.5, ends="flush", simple_path=True, layer=69, datatype=20))  # met2
bgr_coreandvrefbranch.add(gdstk.FlexPath([(183.615,136.96),(188.205,136.96)], 0.5, ends="flush", simple_path=True, layer=69, datatype=20))  # met2
bgr_coreandvrefbranch.add(gdstk.FlexPath([(183.615,135.365),(188.205,135.365)], 0.5, ends="flush", simple_path=True, layer=69, datatype=20))  # met2
bgr_coreandvrefbranch.add(gdstk.FlexPath([(183.615,136.165),(188.205,136.165)], 0.5, ends="flush", simple_path=True, layer=69, datatype=20))  # met2
bgr_coreandvrefbranch.add(gdstk.FlexPath([(183.615,122.665),(188.205,122.665)], 0.5, ends="flush", simple_path=True, layer=69, datatype=20))  # met2
bgr_coreandvrefbranch.add(gdstk.FlexPath([(183.615,121.07),(188.205,121.07)], 0.5, ends="flush", simple_path=True, layer=69, datatype=20))  # met2
bgr_coreandvrefbranch.add(gdstk.FlexPath([(183.615,121.87),(188.205,121.87)], 0.5, ends="flush", simple_path=True, layer=69, datatype=20))  # met2
bgr_coreandvrefbranch.add(gdstk.FlexPath([(173.725,154.5),(142.935,154.5)], 1, ends="flush", simple_path=True, layer=69, datatype=20))  # met2
bgr_coreandvrefbranch.add(gdstk.FlexPath([(176.755,209.3),(176.755,118.62)], 0.5, ends="flush", simple_path=True, layer=70, datatype=20))  # met3
bgr_coreandvrefbranch.add(gdstk.FlexPath([(175.755,208.72),(175.755,155.225)], 0.5, ends="flush", simple_path=True, layer=70, datatype=20))  # met3
bgr_coreandvrefbranch.add(gdstk.FlexPath([(140.97,208.63),(140.97,155.135)], 0.5, ends="flush", simple_path=True, layer=70, datatype=20))  # met3
bgr_coreandvrefbranch.add(gdstk.FlexPath([(139.97,209.3),(139.97,118.62)], 0.5, ends="flush", simple_path=True, layer=70, datatype=20))  # met3
bgr_coreandvrefbranch.add(gdstk.FlexPath([(177.755,209.3),(177.755,118.62)], 0.5, ends="flush", simple_path=True, layer=70, datatype=20))  # met3
bgr_coreandvrefbranch.add(gdstk.Reference(guard_ring_gen_13, (142.31,163.27)))
bgr_coreandvrefbranch.add(gdstk.Reference(pfet, (187.9,160.585), rotation=pi, x_reflection=True))
bgr_coreandvrefbranch.add(gdstk.Reference(pfet, (186.24,160.585), rotation=pi, x_reflection=True))
bgr_coreandvrefbranch.add(gdstk.Reference(guard_ring_gen_4, (183.19,159.78)))
bgr_coreandvrefbranch.add(gdstk.Reference(res_poly_5, (179.985,141.71), x_reflection=True))
bgr_coreandvrefbranch.add(gdstk.Reference(nfet, (162.98,167.6), x_reflection=True))
bgr_coreandvrefbranch.add(gdstk.Reference(nfet, (162.98,172.105)))
bgr_coreandvrefbranch.add(gdstk.Reference(guard_ring_gen, (140.155,117.9)))
bgr_coreandvrefbranch.add(gdstk.Reference(res_poly_13, (158.32,156.98), rotation=pi/2))
bgr_coreandvrefbranch.add(gdstk.Reference(pnp_bjt, (162.08,146.925)))
bgr_coreandvrefbranch.add(gdstk.Reference(pnp_bjt, (162.08,132.725)))
bgr_coreandvrefbranch.add(gdstk.Reference(pnp_bjt, (162.08,125.625)))
bgr_coreandvrefbranch.add(gdstk.Reference(pnp_bjt, (162.08,139.825)))
bgr_coreandvrefbranch.add(gdstk.Reference(pnp_bjt, (162.08,118.525)))
bgr_coreandvrefbranch.add(gdstk.Reference(pfet_1, (163.32,187.765), x_reflection=True))
bgr_coreandvrefbranch.add(gdstk.Reference(pfet_1, (163.32,189.525)))
bgr_coreandvrefbranch.add(gdstk.Reference(res_poly_7, (158.45,160.54), rotation=pi/2))
bgr_coreandvrefbranch.add(gdstk.Reference(pfet_1, (163.32,206.785), x_reflection=True))
bgr_coreandvrefbranch.add(gdstk.Reference(guard_ring_gen_7, (146.63,178.335)))
bgr_coreandvrefbranch.add(gdstk.Reference(pfet, (186.24,191.015), rotation=pi))
bgr_coreandvrefbranch.add(gdstk.Reference(nfet_3, (167.96,167.6), x_reflection=True))
bgr_coreandvrefbranch.add(gdstk.Reference(nfet_3, (171.28,167.6), x_reflection=True))
bgr_coreandvrefbranch.add(gdstk.Reference(pfet, (187.9,174.12), rotation=pi))
bgr_coreandvrefbranch.add(gdstk.Reference(nfet, (169.62,167.6), x_reflection=True))
bgr_coreandvrefbranch.add(gdstk.Reference(pfet, (186.24,174.12), rotation=pi))
bgr_coreandvrefbranch.add(gdstk.Reference(nfet_3, (167.96,172.105)))
bgr_coreandvrefbranch.add(gdstk.Reference(nfet_3, (171.28,172.105)))
bgr_coreandvrefbranch.add(gdstk.Reference(nfet_3, (166.3,172.105)))
bgr_coreandvrefbranch.add(gdstk.Reference(res_poly_4, (179.985,171.34)))
bgr_coreandvrefbranch.add(gdstk.Reference(nfet, (169.62,172.105)))
bgr_coreandvrefbranch.add(gdstk.Reference(nfet, (164.64,167.6), x_reflection=True))
bgr_coreandvrefbranch.add(gdstk.Reference(nfet_3, (166.3,167.6), x_reflection=True))
bgr_coreandvrefbranch.add(gdstk.Reference(res_poly, (179.985,180.535)))
bgr_coreandvrefbranch.add(gdstk.Reference(nfet, (164.64,172.105)))
bgr_coreandvrefbranch.add(gdstk.Reference(res_poly_3, (179.985,197.93)))
bgr_coreandvrefbranch.add(gdstk.Reference(res_poly, (179.985,187.96)))
bgr_coreandvrefbranch.add(gdstk.Reference(pfet, (187.9,194.375), rotation=pi, x_reflection=True))
bgr_coreandvrefbranch.add(gdstk.Reference(pfet, (186.24,194.375), rotation=pi, x_reflection=True))
bgr_coreandvrefbranch.add(gdstk.Reference(pfet, (187.9,207.91), rotation=pi))
bgr_coreandvrefbranch.add(gdstk.Reference(guard_ring_gen_4, (183.19,193.57)))
bgr_coreandvrefbranch.add(gdstk.Reference(pfet, (186.24,207.91), rotation=pi))
bgr_coreandvrefbranch.add(gdstk.Reference(pfet, (187.9,177.48), rotation=pi, x_reflection=True))
bgr_coreandvrefbranch.add(gdstk.Reference(pfet, (186.24,177.48), rotation=pi, x_reflection=True))
bgr_coreandvrefbranch.add(gdstk.Reference(pfet, (187.9,191.015), rotation=pi))
bgr_coreandvrefbranch.add(gdstk.Reference(guard_ring_gen_4, (183.19,176.675)))
bgr_coreandvrefbranch.add(gdstk.Reference(pfet_1, (165.98,187.765), x_reflection=True))
bgr_coreandvrefbranch.add(gdstk.Reference(pfet_1, (165.98,189.525)))
bgr_coreandvrefbranch.add(gdstk.Reference(pfet_1, (165.98,206.785), x_reflection=True))
bgr_coreandvrefbranch.add(gdstk.Reference(nfet, (156.34,167.6), x_reflection=True))
bgr_coreandvrefbranch.add(gdstk.Reference(nfet_3, (154.68,167.6), x_reflection=True))
bgr_coreandvrefbranch.add(gdstk.Reference(nfet_3, (153.02,167.6), x_reflection=True))
bgr_coreandvrefbranch.add(gdstk.Reference(nfet, (144.72,167.6), x_reflection=True))
bgr_coreandvrefbranch.add(gdstk.Reference(nfet_3, (161.32,172.105)))
bgr_coreandvrefbranch.add(gdstk.Reference(nfet_3, (159.66,172.105)))
bgr_coreandvrefbranch.add(gdstk.Reference(nfet, (158,172.105)))
bgr_coreandvrefbranch.add(gdstk.Reference(nfet, (156.34,172.105)))
bgr_coreandvrefbranch.add(gdstk.Reference(nfet_3, (154.68,172.105)))
bgr_coreandvrefbranch.add(gdstk.Reference(nfet_3, (153.02,172.105)))
bgr_coreandvrefbranch.add(gdstk.Reference(pfet_1, (152.68,187.765), x_reflection=True))
bgr_coreandvrefbranch.add(gdstk.Reference(pfet_1, (152.68,206.785), x_reflection=True))
bgr_coreandvrefbranch.add(gdstk.Reference(nfet, (151.36,172.105)))
bgr_coreandvrefbranch.add(gdstk.Reference(nfet, (151.36,167.6), x_reflection=True))
bgr_coreandvrefbranch.add(gdstk.Reference(nfet, (149.7,172.105)))
bgr_coreandvrefbranch.add(gdstk.Reference(nfet_3, (148.04,172.105)))
bgr_coreandvrefbranch.add(gdstk.Reference(pfet_1, (150.02,187.765), x_reflection=True))
bgr_coreandvrefbranch.add(gdstk.Reference(nfet, (149.7,167.6), x_reflection=True))
bgr_coreandvrefbranch.add(gdstk.Reference(pfet_1, (147.36,187.765), x_reflection=True))
bgr_coreandvrefbranch.add(gdstk.Reference(nfet_3, (148.04,167.6), x_reflection=True))
bgr_coreandvrefbranch.add(gdstk.Reference(pfet_1, (160.66,206.785), x_reflection=True))
bgr_coreandvrefbranch.add(gdstk.Reference(nfet_3, (146.38,167.6), x_reflection=True))
bgr_coreandvrefbranch.add(gdstk.Reference(pfet_1, (158,206.785), x_reflection=True))
bgr_coreandvrefbranch.add(gdstk.Reference(nfet_3, (146.38,172.105)))
bgr_coreandvrefbranch.add(gdstk.Reference(pfet_1, (155.34,206.785), x_reflection=True))
bgr_coreandvrefbranch.add(gdstk.Reference(nfet, (144.72,172.105)))
bgr_coreandvrefbranch.add(gdstk.Reference(pfet_1, (160.66,189.525)))
bgr_coreandvrefbranch.add(gdstk.Reference(nfet_3, (143.06,172.105)))
bgr_coreandvrefbranch.add(gdstk.Reference(nfet_3, (143.06,167.6), x_reflection=True))
bgr_coreandvrefbranch.add(gdstk.Reference(nfet_3, (161.32,167.6), x_reflection=True))
bgr_coreandvrefbranch.add(gdstk.Reference(pfet_1, (160.66,187.765), x_reflection=True))
bgr_coreandvrefbranch.add(gdstk.Reference(pfet_1, (158,187.765), x_reflection=True))
bgr_coreandvrefbranch.add(gdstk.Reference(pfet_1, (158,189.525)))
bgr_coreandvrefbranch.add(gdstk.Reference(pfet_1, (155.34,189.525)))
bgr_coreandvrefbranch.add(gdstk.Reference(pfet_1, (152.68,189.525)))
bgr_coreandvrefbranch.add(gdstk.Reference(pfet_1, (150.02,189.525)))
bgr_coreandvrefbranch.add(gdstk.Reference(pfet_1, (147.36,189.525)))
bgr_coreandvrefbranch.add(gdstk.Reference(pfet_1, (147.36,206.785), x_reflection=True))
bgr_coreandvrefbranch.add(gdstk.Reference(pfet_1, (150.02,206.785), x_reflection=True))
bgr_coreandvrefbranch.add(gdstk.Reference(pfet_1, (155.34,187.765), x_reflection=True))
bgr_coreandvrefbranch.add(gdstk.Reference(nfet_3, (159.66,167.6), x_reflection=True))
bgr_coreandvrefbranch.add(gdstk.Reference(nfet, (158,167.6), x_reflection=True))
bgr_coreandvrefbranch.add(gdstk.Reference(pnp_bjt, (140.78,132.725)))
bgr_coreandvrefbranch.add(gdstk.Reference(pnp_bjt, (140.78,139.825)))
bgr_coreandvrefbranch.add(gdstk.Reference(pnp_bjt, (154.98,118.525)))
bgr_coreandvrefbranch.add(gdstk.Reference(pnp_bjt, (147.88,146.925)))
bgr_coreandvrefbranch.add(gdstk.Reference(pnp_bjt, (147.88,139.825)))
bgr_coreandvrefbranch.add(gdstk.Reference(pnp_bjt, (154.98,125.625)))
bgr_coreandvrefbranch.add(gdstk.Reference(pnp_bjt, (154.98,139.825)))
bgr_coreandvrefbranch.add(gdstk.Reference(pnp_bjt, (140.78,146.925)))
bgr_coreandvrefbranch.add(gdstk.Reference(pnp_bjt, (147.88,118.525)))
bgr_coreandvrefbranch.add(gdstk.Reference(pnp_bjt, (154.98,132.725)))
bgr_coreandvrefbranch.add(gdstk.Reference(pnp_bjt, (140.78,118.525)))
bgr_coreandvrefbranch.add(gdstk.Reference(pnp_bjt, (147.88,125.625)))
bgr_coreandvrefbranch.add(gdstk.Reference(pnp_bjt, (154.98,146.925)))
bgr_coreandvrefbranch.add(gdstk.Reference(pnp_bjt, (147.88,132.725)))
bgr_coreandvrefbranch.add(gdstk.Reference(pnp_bjt, (140.78,125.625)))
bgr_coreandvrefbranch.add(gdstk.Reference(pnp_bjt, (169.18,146.925)))
bgr_coreandvrefbranch.add(gdstk.Reference(pfet, (187.9,128.635), rotation=pi))
bgr_coreandvrefbranch.add(gdstk.Reference(pnp_bjt, (169.18,139.825)))
bgr_coreandvrefbranch.add(gdstk.Reference(pnp_bjt, (169.18,125.625)))
bgr_coreandvrefbranch.add(gdstk.Reference(pnp_bjt, (169.18,132.725)))
bgr_coreandvrefbranch.add(gdstk.Reference(pfet, (186.24,128.635), rotation=pi))
bgr_coreandvrefbranch.add(gdstk.Reference(pnp_bjt, (169.18,118.525)))
bgr_coreandvrefbranch.add(gdstk.Reference(guard_ring_gen_5, (183.19,120.395)))
bgr_coreandvrefbranch.add(gdstk.Reference(pfet, (187.9,143.69), rotation=pi, x_reflection=True))
bgr_coreandvrefbranch.add(gdstk.Reference(pfet, (186.24,143.69), rotation=pi, x_reflection=True))
bgr_coreandvrefbranch.add(gdstk.Reference(pfet, (187.9,157.225), rotation=pi))
bgr_coreandvrefbranch.add(gdstk.Reference(pfet, (187.9,129.395), rotation=pi, x_reflection=True))
bgr_coreandvrefbranch.add(gdstk.Reference(pfet, (186.24,157.225), rotation=pi))
bgr_coreandvrefbranch.add(gdstk.Reference(pfet, (186.24,129.395), rotation=pi, x_reflection=True))
bgr_coreandvrefbranch.add(gdstk.Reference(pfet, (187.9,142.93), rotation=pi))
bgr_coreandvrefbranch.add(gdstk.Reference(pfet, (186.24,142.93), rotation=pi))

lib.write_gds('BGR_coreAndVrefBranch.gds')
